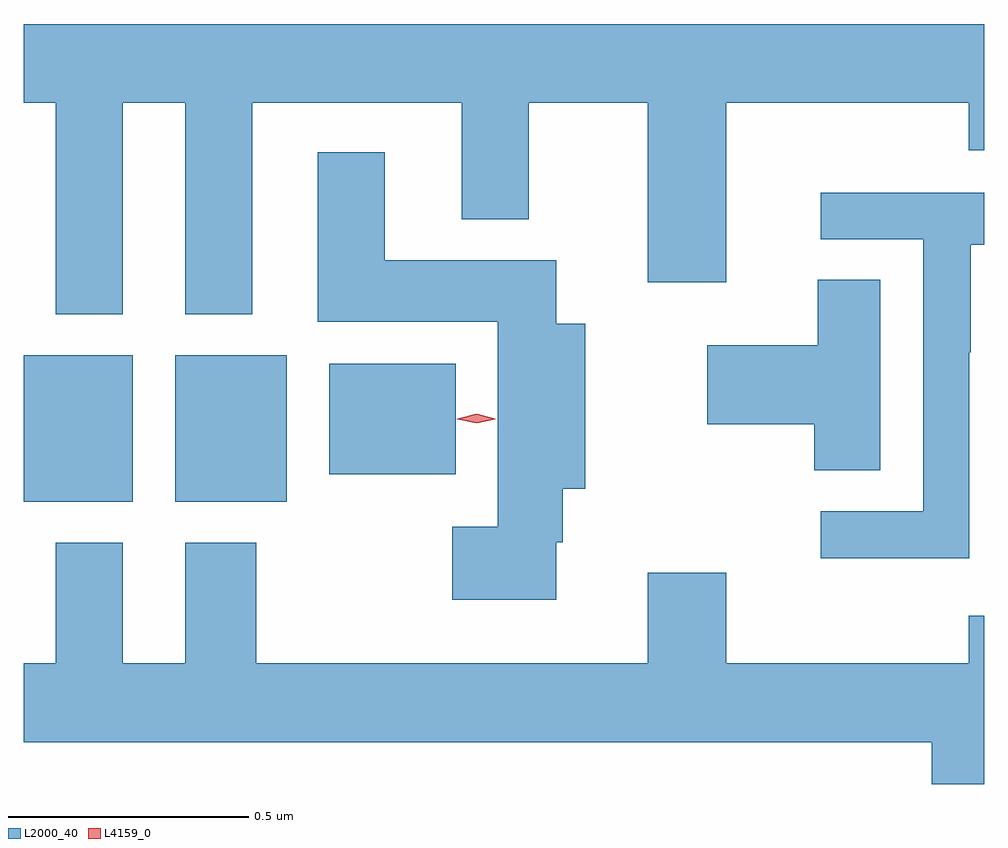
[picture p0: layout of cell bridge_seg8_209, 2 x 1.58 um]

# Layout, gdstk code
import gdstk
lib = gdstk.Library(unit=1e-6, precision=1e-09)
def R(c, l, rs):  # rectangles x0, y0, x1, y1
    for r in rs: c.add(gdstk.rectangle(r[:2], r[2:], *l))
def P(c, l, *ps):  # polygons
    for p in ps: c.add(gdstk.Polygon(p, *l))
L2000_40 = (2000, 40)
L4159_0 = (4159, 0)

bridge_seg8_209 = lib.new_cell('bridge_seg8_209')
R(bridge_seg8_209, L2000_40, [(199.673,1120.997,199.9,1121.302), (199.988,1120.997,200.221,1121.302), (200.309,1121.054,200.572,1121.284)])
P(bridge_seg8_209, L2000_40, [(199.879,1121.828),(200.009,1121.828),(200.009,1121.387),(200.149,1121.387),(200.149,1121.828),(200.585,1121.828),(200.585,1121.585),(200.725,1121.585),(200.725,1121.828),(200.972,1121.828),(200.972,1121.454),(201.136,1121.454),(201.136,1121.828),(201.641,1121.828),(201.641,1121.729),(201.673,1121.729),(201.673,1121.992),(199.673,1121.992),(199.673,1121.828),(199.739,1121.828),(199.739,1121.387),(199.879,1121.387)],
  [(200.782,1120.913),(200.795,1120.913),(200.795,1121.024),(200.842,1121.024),(200.842,1121.368),(200.782,1121.368),(200.782,1121.5),(200.425,1121.5),(200.425,1121.725),(200.285,1121.725),(200.285,1121.372),(200.66,1121.372),(200.66,1120.945),(200.565,1120.945),(200.565,1120.793),(200.782,1120.793)],
  [(201.642,1121.308),(201.645,1121.308),(201.645,1121.532),(201.673,1121.532),(201.673,1121.64),(201.333,1121.64),(201.333,1121.544),(201.546,1121.544),(201.546,1120.977),(201.333,1120.977),(201.333,1120.879),(201.642,1120.879)],
  [(201.457,1121.459),(201.326,1121.459),(201.326,1121.323),(201.096,1121.323),(201.096,1121.158),(201.319,1121.158),(201.319,1121.062),(201.457,1121.062)],
  [(201.673,1120.759),(201.641,1120.759),(201.641,1120.66),(201.136,1120.66),(201.136,1120.849),(200.972,1120.849),(200.972,1120.66),(200.157,1120.66),(200.157,1120.912),(200.009,1120.912),(200.009,1120.66),(199.879,1120.66),(199.879,1120.912),(199.739,1120.912),(199.739,1120.66),(199.673,1120.66),(199.673,1120.496),(201.564,1120.496),(201.564,1120.409),(201.673,1120.409)])
P(bridge_seg8_209, L4159_0, [(200.616,1121.16),(200.576,1121.169),(200.576,1121.17),(200.576,1121.17),(200.616,1121.18),(200.655,1121.17),(200.655,1121.17),(200.655,1121.169)])

lib.write_gds('bridge_seg8_209.gds')
